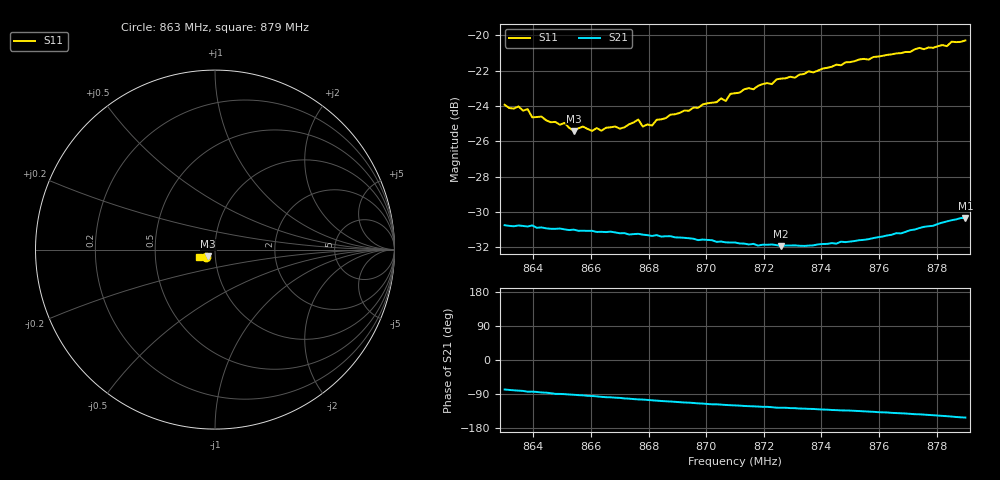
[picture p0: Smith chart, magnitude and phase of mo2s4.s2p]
# HZ S RI R 50
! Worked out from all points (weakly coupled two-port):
!   101 points, 863 MHz to 879 MHz, reference 50 ohm
!   highest |S21| = -30.34 dB at 879 MHz (marker M1); lowest = -31.9 dB at 872.6 MHz (marker M2)
!   lowest |S11| = -25.4 dB at 865.4 MHz (marker M3), VSWR 1.11, Z = 46.2 - j3.53 ohm
!   |S11| at or under -10 dB: start of sweep to end of sweep
!   S12 and S22 are empty: the file has one direction only
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8.63e8  -0.0494 -0.04  0.00611 -0.0284  0 0  0 0
8.638e8  -0.0482 -0.0387  0.00318 -0.0286  0 0  0 0
8.6396e8  -0.0445 -0.0381  0.00328 -0.0288  0 0  0 0
8.6508e8  -0.0398 -0.0401  -4.2e-05 -0.0282  0 0  0 0
8.654e8  -0.0378 -0.038  -0.000848 -0.0282  0 0  0 0
8.6572e8  -0.0373 -0.0406  -0.00158 -0.0279  0 0  0 0
8.6636e8  -0.0358 -0.04  -0.00346 -0.0276  0 0  0 0
8.6716e8  -0.0335 -0.0435  -0.00545 -0.027  0 0  0 0
8.6764e8  -0.0345 -0.0463  -0.00662 -0.0266  0 0  0 0
8.678e8  -0.0325 -0.0445  -0.00679 -0.0264  0 0  0 0
8.6812e8  -0.0316 -0.0456  -0.00762 -0.0259  0 0  0 0
8.6828e8  -0.0322 -0.0478  -0.00805 -0.026  0 0  0 0
8.6844e8  -0.0331 -0.0474  -0.00841 -0.0256  0 0  0 0
8.7052e8  -0.0374 -0.0547  -0.0122 -0.0231  0 0  0 0
8.7068e8  -0.0362 -0.0542  -0.0124 -0.0228  0 0  0 0
8.7084e8  -0.0392 -0.0559  -0.0127 -0.0226  0 0  0 0
8.71e8  -0.0388 -0.0565  -0.0129 -0.0225  0 0  0 0
8.726e8  -0.0465 -0.0593  -0.0149 -0.0205  0 0  0 0
8.7372e8  -0.0508 -0.0598  -0.0161 -0.0197  0 0  0 0
8.7484e8  -0.0592 -0.0594  -0.0178 -0.0189  0 0  0 0
8.7644e8  -0.0696 -0.0543  -0.0207 -0.0177  0 0  0 0
8.79e8  -0.087 -0.042  -0.0268 -0.0143  0 0  0 0
